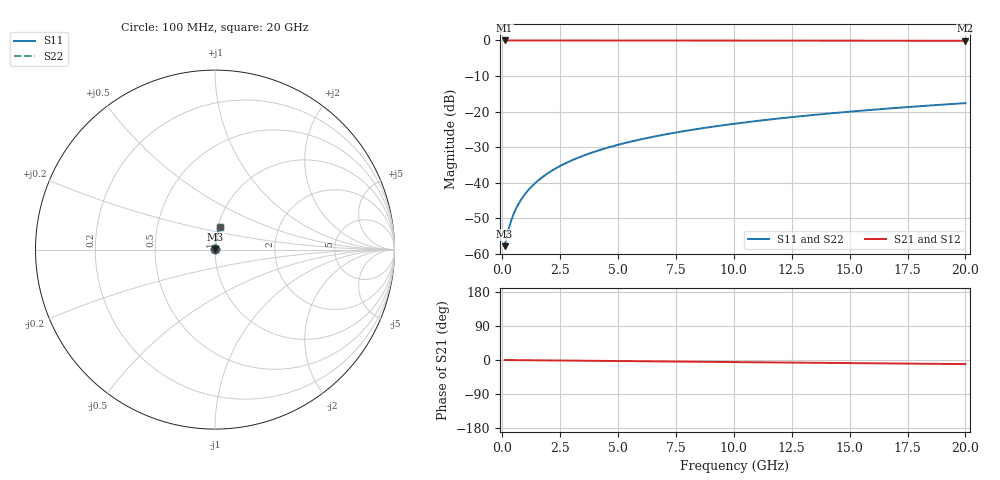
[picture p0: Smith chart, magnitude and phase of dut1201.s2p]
! Touchstone file exported from HFSS 2026.1.0
!  File:  C:/ffzhzh/LocalFiles/Ansys_Project_Files/temp_train_TMRDL_1201_1783162997_51560.aedt
!  Generated:  07:04:30 PM Jul  4, 2026
!  Design:  TMRDL
!  Project:  temp_train_TMRDL_1201_1783162997_51560
! Variables:
!  h_bsmrdl = 2um
!  h_ox = 20um
!  h_rdl = 5um
!  h_sub = 80um
!  h_tmrdl = 3.77um
!  h_tsv = 80um
!  h_via = 3um
!  l_bsmrdl = 300um
!  l_sub = 511.87um
!  l_tmrdl = 111.87um
!  m_sub = 200um
!  pitch = 38.93um
!  r_tsv = 6um
!  s_tmrdl = 10um
!  w_bsmrdl = 18um
!  w_sub = 500um
!  w_tmrdl = 11.61um
!  x_tsv_center1 = 117.675um
!  x_tsv_center2 = 435.675um
!  x_tsv_center3 = 559.155um
!  x_tsv_center4 = 877.155um
!  x_tsv_center5 = 1000.635um
!  x_tsv_center6 = 1318.635um
# GHz S MA R 50.000000
! Terminal data exported
! Port[1] = TM_RDL1_1_T1
! Port[2] = TM_RDL1_1_T2
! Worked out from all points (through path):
!   200 points, 100 MHz to 20 GHz, reference 50 ohm
!   highest |S21| = -0.01 dB at 100 MHz (marker M1); lowest = -0.1 dB at 20 GHz (marker M2)
!   group delay of S21, straight-line fit = 1.5 ps
!   lowest |S11| = -57.9 dB at 100 MHz (marker M3), VSWR 1.00, Z = 50.1 + j0.0715 ohm
!   |S11| at or under -10 dB: start of sweep to end of sweep
!   |S22| runs from -57.9 to -17.6 dB; largest |S21 - S12| = 3.2e-15
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0.1  0.001278 33.9  0.9989 -0.1  0.9989 -0.1  0.001278 33.9
! Gamma 0 0 0 0
! Port Impedance 50 0 50 0
0.2  0.001784 52.9  0.9989 -0.1  0.9989 -0.1  0.001784 52.9
0.3  0.002391 62.6  0.9989 -0.2  0.9989 -0.2  0.002391 62.6
0.4  0.003033 68.2  0.9989 -0.2  0.9989 -0.2  0.003033 68.2
0.5  0.003687 71.8  0.9989 -0.3  0.9989 -0.3  0.003687 71.8
0.6  0.004348 74.3  0.9988 -0.3  0.9988 -0.3  0.004348 74.3
0.8  0.00568 77.5  0.9988 -0.4  0.9988 -0.4  0.00568 77.5
1.1  0.007693 80.3  0.9988 -0.6  0.9988 -0.6  0.007693 80.3
1.5  0.01039 82.2  0.9987 -0.8  0.9987 -0.8  0.01039 82.2
1.8  0.01242 83.1  0.9986 -1.0  0.9986 -1.0  0.01242 83.1
2.1  0.01446 83.6  0.9986 -1.2  0.9986 -1.2  0.01446 83.6
2.7  0.01853 84.3  0.9985 -1.5  0.9985 -1.5  0.01853 84.3
3.5  0.02395 84.5  0.9982 -1.9  0.9982 -1.9  0.02395 84.5
4.2  0.02867 84.5  0.998 -2.3  0.998 -2.3  0.02867 84.5
5  0.03406 84.4  0.9977 -2.8  0.9977 -2.8  0.03406 84.4
5.9  0.04009 84.1  0.9974 -3.3  0.9974 -3.3  0.04009 84.1
6.8  0.04608 83.8  0.997 -3.7  0.997 -3.7  0.04608 83.8
8.3  0.05602 83.1  0.9962 -4.6  0.9962 -4.6  0.05602 83.1
10.1  0.06784 82.3  0.9952 -5.5  0.9952 -5.5  0.06784 82.3
13.4  0.08927 80.8  0.993 -7.3  0.993 -7.3  0.08927 80.8
16.7  0.1104 79.2  0.9905 -9.1  0.9905 -9.1  0.1104 79.2
20  0.1313 77.5  0.9876 -10.8  0.9876 -10.8  0.1313 77.5
